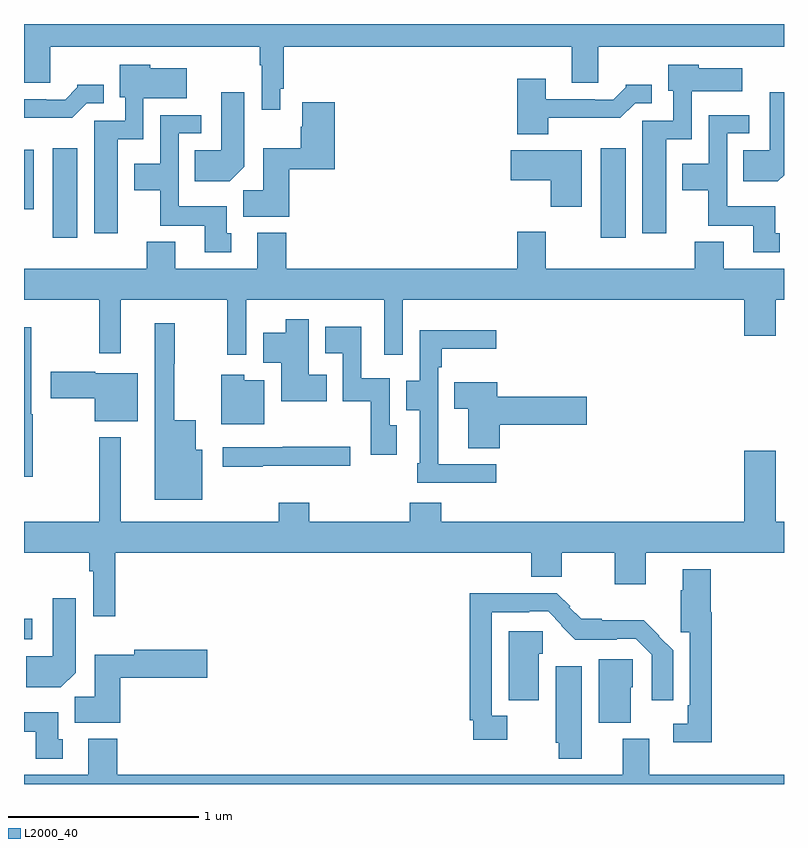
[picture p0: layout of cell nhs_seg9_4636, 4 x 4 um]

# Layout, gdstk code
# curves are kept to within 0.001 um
import gdstk
lib = gdstk.Library(unit=1e-6, precision=1e-09)
def R(c, l, rs):  # rectangles x0, y0, x1, y1
    for r in rs: c.add(gdstk.rectangle(r[:2], r[2:], *l))
def P(c, l, *ps):  # polygons
    for p in ps: c.add(gdstk.Polygon(p, *l))
L2000_40 = (2000, 40)

nhs_seg9_4636 = lib.new_cell('nhs_seg9_4636')
R(nhs_seg9_4636, L2000_40, [(377,1233.261,377.044,1233.37), (377.15,1235.376,377.281,1235.845), (380.036,1235.376,380.167,1235.845), (377,1235.525,377.05,1235.839)])
P(nhs_seg9_4636, L2000_40, [(378.348,1236.16),(378.368,1236.16),(378.368,1236.38),(379.883,1236.38),(379.883,1236.19),(380.023,1236.19),(380.023,1236.38),(381,1236.38),(381,1236.5),(377,1236.5),(377,1236.19),(377.137,1236.19),(377.137,1236.38),(378.24,1236.38),(378.24,1236.284),(378.252,1236.284),(378.252,1236.048),(378.348,1236.048)],
  [(377.494,1235.894),(377.628,1235.894),(377.628,1236.11),(377.857,1236.11),(377.857,1236.268),(377.664,1236.268),(377.664,1236.286),(377.504,1236.286),(377.504,1236.114),(377.532,1236.114),(377.532,1235.991),(377.369,1235.991),(377.369,1235.4),(377.494,1235.4)],
  [(380.38,1235.894),(380.514,1235.894),(380.514,1236.146),(380.779,1236.146),(380.779,1236.268),(380.55,1236.268),(380.55,1236.286),(380.39,1236.286),(380.39,1236.15),(380.418,1236.15),(380.418,1235.991),(380.255,1235.991),(380.255,1235.4),(380.38,1235.4)],
  [(379.76,1236.006),(380.139,1236.006),(380.217,1236.084),(380.305,1236.084),(380.305,1236.181),(380.166,1236.181),(380.166,1236.166),(380.102,1236.102),(380.003,1236.102),(380.003,1236.105),(379.747,1236.105),(379.747,1236.211),(379.595,1236.211),(379.595,1235.921),(379.76,1235.921)],
  [(377.331,1236.084),(377.419,1236.084),(377.419,1236.181),(377.28,1236.181),(377.28,1236.166),(377.216,1236.102),(377.117,1236.102),(377.117,1236.105),(377,1236.105),(377,1236.006),(377.253,1236.006)],
  [(378.16,1235.75),(378.16,1236.142),(378.038,1236.142),(378.038,1235.836),(377.899,1235.836),(377.899,1235.672),(378.082,1235.672)],
  [(381,1235.704),(381,1236.142),(380.924,1236.142),(380.924,1235.836),(380.785,1235.836),(380.785,1235.672),(380.968,1235.672)],
  [(378.395,1235.735),(378.635,1235.735),(378.635,1236.088),(378.464,1236.088),(378.464,1235.96),(378.457,1235.96),(378.457,1235.845),(378.26,1235.845),(378.26,1235.624),(378.155,1235.624),(378.155,1235.486),(378.395,1235.486)],
  [(380.977,1235.4),(380.953,1235.4),(380.953,1235.542),(380.7,1235.542),(380.7,1235.925),(380.818,1235.925),(380.818,1236.021),(380.604,1236.021),(380.604,1235.764),(380.465,1235.764),(380.465,1235.624),(380.602,1235.624),(380.602,1235.438),(380.837,1235.438),(380.837,1235.298),(380.977,1235.298)],
  [(378.091,1235.4),(378.067,1235.4),(378.067,1235.542),(377.814,1235.542),(377.814,1235.925),(377.932,1235.925),(377.932,1236.021),(377.718,1236.021),(377.718,1235.764),(377.579,1235.764),(377.579,1235.624),(377.716,1235.624),(377.716,1235.438),(377.951,1235.438),(377.951,1235.298),(378.091,1235.298)],
  [(379.936,1235.836),(379.563,1235.836),(379.563,1235.678),(379.772,1235.678),(379.772,1235.538),(379.936,1235.538)],
  [(378.171,1235.048),(378.897,1235.048),(378.897,1234.758),(378.993,1234.758),(378.993,1235.048),(380.792,1235.048),(380.792,1234.86),(380.956,1234.86),(380.956,1235.048),(381,1235.048),(381,1235.212),(380.683,1235.212),(380.683,1235.353),(380.531,1235.353),(380.531,1235.212),(379.747,1235.212),(379.747,1235.407),(379.595,1235.407),(379.595,1235.212),(378.38,1235.212),(378.38,1235.401),(378.227,1235.401),(378.227,1235.212),(377.797,1235.212),(377.797,1235.353),(377.645,1235.353),(377.645,1235.212),(377,1235.212),(377,1235.048),(377.395,1235.048),(377.395,1234.767),(377.509,1234.767),(377.509,1235.048),(378.07,1235.048),(378.07,1234.758),(378.171,1234.758)],
  [(378.593,1234.654),(378.499,1234.654),(378.499,1234.945),(378.377,1234.945),(378.377,1234.876),(378.26,1234.876),(378.26,1234.718),(378.353,1234.718),(378.353,1234.514),(378.593,1234.514)],
  [(377.938,1234.258),(377.905,1234.258),(377.905,1234.414),(377.791,1234.414),(377.791,1234.711),(377.794,1234.711),(377.794,1234.924),(377.687,1234.924),(377.687,1233.995),(377.938,1233.995)],
  [(378.961,1234.389),(378.924,1234.389),(378.924,1234.636),(378.774,1234.636),(378.774,1234.906),(378.585,1234.906),(378.585,1234.766),(378.678,1234.766),(378.678,1234.514),(378.826,1234.514),(378.826,1234.233),(378.961,1234.233)],
  [(377.046,1234.445),(377.038,1234.445),(377.038,1234.903),(377,1234.903),(377,1234.116),(377.046,1234.116)],
  [(379.486,1234.182),(379.18,1234.182),(379.18,1234.379),(379.179,1234.379),(379.179,1234.694),(379.199,1234.694),(379.199,1234.79),(379.486,1234.79),(379.486,1234.888),(379.083,1234.888),(379.083,1234.623),(379.013,1234.623),(379.013,1234.468),(379.083,1234.468),(379.083,1234.189),(379.071,1234.189),(379.071,1234.086),(379.486,1234.086)],
  [(377.599,1234.663),(377.376,1234.663),(377.376,1234.671),(377.142,1234.671),(377.142,1234.529),(377.372,1234.529),(377.372,1234.409),(377.599,1234.409)],
  [(378.265,1234.624),(378.16,1234.624),(378.16,1234.654),(378.038,1234.654),(378.038,1234.394),(378.265,1234.394)],
  [(379.505,1234.391),(379.963,1234.391),(379.963,1234.538),(379.492,1234.538),(379.492,1234.615),(379.264,1234.615),(379.264,1234.475),(379.337,1234.475),(379.337,1234.267),(379.505,1234.267)],
  [(377.48,1233.716),(379.67,1233.716),(379.67,1233.59),(379.831,1233.59),(379.831,1233.716),(380.108,1233.716),(380.108,1233.552),(380.272,1233.552),(380.272,1233.716),(381,1233.716),(381,1233.88),(380.956,1233.88),(380.956,1234.255),(380.792,1234.255),(380.792,1233.88),(379.196,1233.88),(379.196,1233.979),(379.031,1233.979),(379.031,1233.88),(378.5,1233.88),(378.5,1233.979),(378.34,1233.979),(378.34,1233.88),(377.509,1233.88),(377.509,1234.324),(377.395,1234.324),(377.395,1233.88),(377,1233.88),(377,1233.716),(377.344,1233.716),(377.344,1233.62),(377.364,1233.62),(377.364,1233.384),(377.48,1233.384)],
  [(378.257,1234.175),(378.718,1234.175),(378.718,1234.275),(378.361,1234.275),(378.361,1234.272),(378.045,1234.272),(378.045,1234.171),(378.257,1234.171)],
  [(380.621,1233.403),(380.615,1233.403),(380.615,1233.631),(380.468,1233.631),(380.468,1233.521),(380.456,1233.521),(380.456,1233.3),(380.505,1233.3),(380.505,1232.914),(380.493,1232.914),(380.493,1232.817),(380.418,1232.817),(380.418,1232.72),(380.621,1232.72)],
  [(379.544,1232.86),(379.461,1232.86),(379.461,1233.404),(379.658,1233.404),(379.658,1233.408),(379.758,1233.408),(379.83,1233.336),(379.827,1233.333),(379.901,1233.26),(380.12,1233.26),(380.12,1233.264),(380.22,1233.264),(380.304,1233.18),(380.304,1232.94),(380.416,1232.94),(380.416,1233.204),(380.261,1233.361),(380.041,1233.361),(380.041,1233.369),(379.933,1233.369),(379.871,1233.431),(379.875,1233.435),(379.805,1233.505),(379.345,1233.505),(379.345,1232.836),(379.365,1232.836),(379.365,1232.732),(379.544,1232.732)],
  [(377.272,1233.086),(377.272,1233.478),(377.15,1233.478),(377.15,1233.172),(377.011,1233.172),(377.011,1233.008),(377.194,1233.008)],
  [(379.708,1233.186),(379.731,1233.186),(379.731,1233.303),(379.55,1233.303),(379.55,1232.941),(379.708,1232.941)],
  [(377.507,1233.059),(377.965,1233.059),(377.965,1233.206),(377.58,1233.206),(377.58,1233.181),(377.372,1233.181),(377.372,1232.96),(377.267,1232.96),(377.267,1232.822),(377.507,1232.822)],
  [(380.194,1233.009),(380.205,1233.009),(380.205,1233.156),(380.024,1233.156),(380.024,1232.822),(380.194,1232.822)],
  [(379.936,1233.121),(379.799,1233.121),(379.799,1232.718),(379.814,1232.718),(379.814,1232.633),(379.936,1232.633)],
  [(377.203,1232.736),(377.179,1232.736),(377.179,1232.878),(377,1232.878),(377,1232.774),(377.063,1232.774),(377.063,1232.634),(377.203,1232.634)],
  [(381,1232.548),(380.29,1232.548),(380.29,1232.737),(380.15,1232.737),(380.15,1232.548),(377.492,1232.548),(377.492,1232.737),(377.339,1232.737),(377.339,1232.548),(377,1232.548),(377,1232.5),(381,1232.5)])

lib.write_gds('nhs_seg9_4636.gds')
